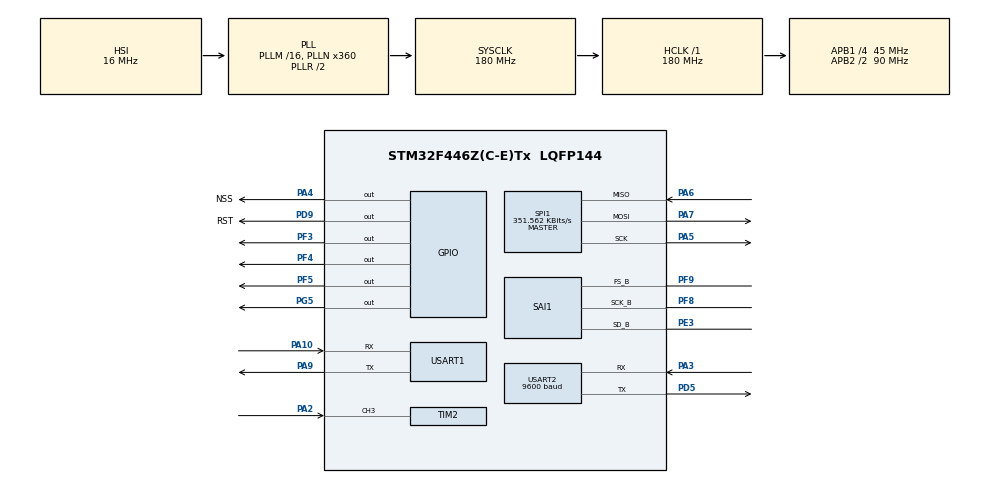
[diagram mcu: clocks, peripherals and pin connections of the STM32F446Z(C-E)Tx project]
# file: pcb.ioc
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Dma.Request0=SAI1_B
Dma.Request1=USART2_RX
Dma.Request2=USART1_TX
Dma.SAI1_B.0.Direction=DMA_PERIPH_TO_MEMORY
Dma.SAI1_B.0.FIFOMode=DMA_FIFOMODE_ENABLE
Dma.SAI1_B.0.FIFOThreshold=DMA_FIFO_THRESHOLD_FULL
Dma.SAI1_B.0.Instance=DMA2_Stream4
Dma.SAI1_B.0.MemBurst=DMA_MBURST_SINGLE
Dma.SAI1_B.0.MemDataAlignment=DMA_MDATAALIGN_WORD
Dma.SAI1_B.0.MemInc=DMA_MINC_ENABLE
Dma.SAI1_B.0.Mode=DMA_CIRCULAR
Dma.SAI1_B.0.PeriphBurst=DMA_PBURST_SINGLE
Dma.SAI1_B.0.PeriphDataAlignment=DMA_PDATAALIGN_WORD
Dma.SAI1_B.0.PeriphInc=DMA_PINC_DISABLE
Dma.SAI1_B.0.Priority=DMA_PRIORITY_LOW
Dma.USART1_TX.2.Direction=DMA_MEMORY_TO_PERIPH
Dma.USART1_TX.2.FIFOMode=DMA_FIFOMODE_DISABLE
Dma.USART1_TX.2.Instance=DMA2_Stream7
Dma.USART1_TX.2.MemDataAlignment=DMA_MDATAALIGN_BYTE
Dma.USART1_TX.2.MemInc=DMA_MINC_ENABLE
Dma.USART1_TX.2.Mode=DMA_NORMAL
Dma.USART1_TX.2.PeriphDataAlignment=DMA_PDATAALIGN_BYTE
Dma.USART1_TX.2.PeriphInc=DMA_PINC_DISABLE
Dma.USART1_TX.2.Priority=DMA_PRIORITY_LOW
Dma.USART2_RX.1.Direction=DMA_PERIPH_TO_MEMORY
Dma.USART2_RX.1.FIFOMode=DMA_FIFOMODE_DISABLE
Dma.USART2_RX.1.Instance=DMA1_Stream5
Dma.USART2_RX.1.MemDataAlignment=DMA_MDATAALIGN_BYTE
Dma.USART2_RX.1.MemInc=DMA_MINC_ENABLE
Dma.USART2_RX.1.Mode=DMA_NORMAL
Dma.USART2_RX.1.PeriphDataAlignment=DMA_PDATAALIGN_BYTE
Dma.USART2_RX.1.PeriphInc=DMA_PINC_DISABLE
Dma.USART2_RX.1.Priority=DMA_PRIORITY_HIGH
Mcu.Family=STM32F4
Mcu.Name=STM32F446Z(C-E)Tx
Mcu.Package=LQFP144
NVIC.DMA1_Stream5_IRQn=true\:0\:0\:false\:false\:true\:false\:true\:true
NVIC.DMA2_Stream4_IRQn=true\:0\:0\:false\:false\:true\:false\:true\:true
NVIC.DMA2_Stream7_IRQn=true\:0\:0\:false\:false\:true\:false\:true\:true
NVIC.PriorityGroup=NVIC_PRIORITYGROUP_4
NVIC.TIM2_IRQn=true\:0\:0\:false\:false\:true\:true\:true\:true
NVIC.USART2_IRQn=true\:0\:0\:false\:false\:true\:true\:true\:true
PA10.Mode=Asynchronous
PA10.Signal=USART1_RX
PA13.Mode=Serial_Wire
PA13.Signal=SYS_JTMS-SWDIO
PA14.Mode=Serial_Wire
PA14.Signal=SYS_JTCK-SWCLK
PA2.Signal=S_TIM2_CH3
PA3.Mode=Asynchronous
PA3.Signal=USART2_RX
PA4.GPIO_Label=NSS
PA4.Signal=GPIO_Output
PA5.Mode=Full_Duplex_Master
PA5.Signal=SPI1_SCK
PA6.Mode=Full_Duplex_Master
PA6.Signal=SPI1_MISO
PA7.Mode=Full_Duplex_Master
PA7.Signal=SPI1_MOSI
PA9.Mode=Asynchronous
PA9.Signal=USART1_TX
PC14-OSC32_IN.Mode=LSE-External-Oscillator
PC14-OSC32_IN.Signal=RCC_OSC32_IN
PC15-OSC32_OUT.Mode=LSE-External-Oscillator
PC15-OSC32_OUT.Signal=RCC_OSC32_OUT
PD5.Mode=Asynchronous
PD5.Signal=USART2_TX
PD9.GPIO_Label=RST
PD9.Signal=GPIO_Output
PE3.Mode=SAI_B_Master
PE3.Signal=SAI1_SD_B
PF3.Signal=GPIO_Output
PF4.Signal=GPIO_Output
PF5.Signal=GPIO_Output
PF8.Mode=SAI_B_Master
PF8.Signal=SAI1_SCK_B
PF9.Mode=SAI_B_Master
PF9.Signal=SAI1_FS_B
PG5.Signal=GPIO_Output
PH0-OSC_IN.Mode=HSE-External-Oscillator
PH0-OSC_IN.Signal=RCC_OSC_IN
PH1-OSC_OUT.Mode=HSE-External-Oscillator
PH1-OSC_OUT.Signal=RCC_OSC_OUT
ProjectManager.HeapSize=0x200
ProjectManager.StackSize=0x400
ProjectManager.TargetToolchain=STM32CubeIDE
RCC.AHBFreq_Value=180000000
RCC.APB1CLKDivider=RCC_HCLK_DIV4
RCC.APB1Freq_Value=45000000
RCC.APB1TimFreq_Value=90000000
RCC.APB2CLKDivider=RCC_HCLK_DIV2
RCC.APB2Freq_Value=90000000
RCC.APB2TimFreq_Value=180000000
RCC.CortexFreq_Value=180000000
RCC.HCLKFreq_Value=180000000
RCC.HSE_VALUE=25000000
RCC.PLLN=360
RCC.PLLP=RCC_PLLP_DIV4
RCC.SYSCLKFreq_VALUE=180000000
RCC.SYSCLKSource=RCC_SYSCLKSOURCE_PLLRCLK
RCC.USBFreq_Value=180000000
RCC.VCOOutputFreq_Value=360000000
SAI1.AudioFrequency-SAI_B_Master=SAI_AUDIO_FREQUENCY_44K
SAI1.AudioMode-SAI_B_Master=SAI_MODEMASTER_RX
SAI1.BasicDataSize-SAI_B_Master=SAI_PROTOCOL_DATASIZE_24BIT
SAI1.ErrorAudioFreq-SAI_B_Master=6.53 %
SAI1.InitProtocol-SAI_B_Master=Enable
SAI1.Instance-SAI_B_Master=SAI$Index_Block_B
SAI1.MClockEnable-SAI_B_Master=SAI_MASTERCLOCK_DISABLE
SAI1.RealAudioFreq-SAI_B_Master=46.875 KHz
SAI1.VirtualMode-SAI_B_Master=VM_MASTER
SAI1.VirtualProtocol-SAI_B_BASIC=VM_BASIC_PROTOCOL
SH.S_TIM2_CH3.0=TIM2_CH3,Input_Capture3_from_TI3
SPI1.BaudRatePrescaler=SPI_BAUDRATEPRESCALER_256
SPI1.CalculateBaudRate=351.562 KBits/s
SPI1.Direction=SPI_DIRECTION_2LINES
SPI1.Mode=SPI_MODE_MASTER
SPI1.VirtualType=VM_MASTER
TIM2.Channel-Input_Capture3_from_TI3=TIM_CHANNEL_3
USART1.VirtualMode=VM_ASYNC
USART2.BaudRate=9600
USART2.VirtualMode=VM_ASYNC
VP_SAI1_VP_$IpInstance_SAIB_SAI_BASIC.Mode=SAI_B_BASIC
board=custom

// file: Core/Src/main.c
/* USER CODE BEGIN Header */
/**
  ******************************************************************************
  * @file           : main.c
  * @brief          : Main program body
  ******************************************************************************
  * @attention
  *
  * Copyright (c) 2022 STMicroelectronics.
  * All rights reserved.
  *
  * This software is licensed under terms that can be found in the LICENSE file
  * in the root directory of this software component.
  * If no LICENSE file comes with this software, it is provided AS-IS.
  *
  ******************************************************************************
  */
/* USER CODE END Header */
#include "main.h"

/* USER CODE BEGIN Includes */
#include <stdio.h>
#include <stdlib.h>
#include <stdbool.h>
#include "string.h"
#include "lora_sx1276.h"
#include "string.h"
#include "arm_math.h"
#include "fir_coeffs1400-2600hz.h"
/* USER CODE END Includes */

/* USER CODE BEGIN PTD */
#define LORA_TRANSMIT 1
#define CLAP_THRESHOLD 100.0f
#define CLAP_DURATION 5
#define MIC_SAMPLE_FREQUENCY 44000
#define MIC_SAMPLES_PER_MS (MIC_SAMPLE_FREQUENCY/1000)  // == 48
#define MIC_NUM_CHANNELS 1
#define MIC_MS_PER_PACKET 20
#define MIC_SAMPLES_PER_PACKET (MIC_SAMPLES_PER_MS * MIC_MS_PER_PACKET) // == 960
#define MOVING_AVG_THRESHOLD CLAP_THRESHOLD
#define MOVING_AVG_LEN CLAP_DURATION
#define NUM_SEND_PACKETS 10
#define SEND_LEN (255 * NUM_SEND_PACKETS)
#define NODE 2

#if (NODE == 1)
#define NODE_DELAY 0
#elif (NODE == 2)
#define NODE_DELAY 100000000
#elif (NODE == 3)
#define NODE_DELAY 200000000
#elif (NODE == 4)
#define NODE_DELAY 300000000
#endif

#define TOTAL_DELAY 300000000

#define BLOCK_SIZE MIC_SAMPLES_PER_PACKET / 2
#define FILTER_LEN 101
/* USER CODE END PTD */

SAI_HandleTypeDef hsai_BlockB1;
DMA_HandleTypeDef hdma_sai1_b;

SPI_HandleTypeDef hspi1;

TIM_HandleTypeDef htim2;

UART_HandleTypeDef huart1;
UART_HandleTypeDef huart2;
DMA_HandleTypeDef hdma_usart1_tx;
DMA_HandleTypeDef hdma_usart2_rx;

/* USER CODE BEGIN PV */
volatile int32_t *_sampleBuffer[MIC_SAMPLES_PER_PACKET * 2];
int16_t circular_buf_mov[MOVING_AVG_LEN];
int16_t circular_buf_mov_right[MOVING_AVG_LEN];
uint32_t tail_mov;

int16_t circular_buf_full[SEND_LEN];
uint32_t tail_full;
float moving_sum;
float moving_avg;
int64_t moving_sum_left;
float moving_avg_left;
int64_t moving_sum_right;
float moving_avg_right;
bool _running;
uint16_t counter;
int done;
uint32_t devID = NODE;
uint32_t startPadding = 0xABABABAB;
uint32_t endMetaPadding = 0xCDCDCDCD;
uint32_t endPadding = 0xEFEFEFEF;
lora_sx1276 lora;
uint8_t iterfacing_success[] = "Interfacing SUCCESS";
uint8_t iterfacing_failed[] = "Interfacing FAILED";
uint8_t transmission_success[] = "Transmission SUCCESS";
uint8_t transmission_failed[] = "Transmission FAILED";

uint8_t GPS_buffer[2048];
char buffStr[2048];
char nmeaSnt[80];
uint8_t GPS_latest_data[65];
int GPSidxint = 0;

arm_fir_instance_f32 S;
float buffer[FILTER_LEN + BLOCK_SIZE - 1];
uint32_t blockSize = BLOCK_SIZE;
/* USER CODE END PV */

void SystemClock_Config(void);
static void MX_GPIO_Init(void);
static void MX_SPI1_Init(void);
static void MX_TIM2_Init(void);
static void MX_DMA_Init(void);
static void MX_SAI1_Init(void);
static void MX_USART2_UART_Init(void);
static void MX_USART1_UART_Init(void);
/* USER CODE BEGIN PFP */
void sendData(volatile int32_t *data_in);
/* USER CODE END PFP */

/* USER CODE BEGIN 0 */
uint32_t timerVal;

void HAL_TIM_IC_CaptureCallback(TIM_HandleTypeDef *htim) {
	__HAL_TIM_SET_COUNTER(htim,0);
}

void HAL_UART_RxCpltCallback(UART_HandleTypeDef *huart)
{
	if (huart == &huart2){
		char *string;
		memset(buffStr, 0, 2048);
		sprintf(buffStr, "%s", GPS_buffer);
		string = strdup(buffStr);

		char* token;
		while ((token = strsep(&string, "\n")) != NULL) {
			memset(nmeaSnt, 0, 80);
			sprintf(nmeaSnt, "%s\n\r", token);
			if ((strstr(nmeaSnt, "$GPGLL") != 0) && strlen(nmeaSnt) > 48 && strlen(nmeaSnt) < 65) {
				HAL_GPIO_WritePin(GPIOF, GPIO_PIN_4, GPIO_PIN_RESET);
				//Raw Data
				char* GPSidx = strchr(nmeaSnt, '\n');
				if (GPSidx){
					GPSidxint = GPSidx-nmeaSnt;
				}
				memset(GPS_latest_data, 0, 65);
				memcpy(GPS_latest_data, nmeaSnt, GPSidxint);
			}
		}
		HAL_UART_Receive_DMA(&huart2, GPS_buffer, 2048);
	}
}
/* USER CODE END 0 */

int main(void)
{
  /* USER CODE BEGIN 1 */
  _running = false;
  tail_mov = 1;
  tail_full = 1;
  moving_sum = 0;
  moving_avg = 0;
  moving_sum_left = 0;
  moving_avg_left = 0;
  moving_sum_right = 0;
  moving_avg_right = 0;
  counter = 0;
  done = 0;
  memset(circular_buf_mov, 0, MOVING_AVG_LEN*sizeof(int16_t));
  memset(circular_buf_mov_right, 0, MOVING_AVG_LEN*sizeof(int16_t));
  memset(circular_buf_full, 0, SEND_LEN*sizeof(int16_t));
  memset(_sampleBuffer, 0, MIC_SAMPLES_PER_PACKET*2*sizeof(int32_t));
  arm_fir_init_f32(&S, FILTER_LEN, (float *) coeffs, buffer, blockSize);

  /* USER CODE END 1 */

  /* MCU Configuration--------------------------------------------------------*/

  /* Reset of all peripherals, Initializes the Flash interface and the Systick. */
  HAL_Init();

  /* Configure the system clock */
  SystemClock_Config();

  /* Initialize all configured peripherals */
  MX_GPIO_Init();
  MX_SPI1_Init();
  MX_TIM2_Init();
  MX_DMA_Init();
  MX_SAI1_Init();
  MX_USART2_UART_Init();
  MX_USART1_UART_Init();
  /* USER CODE BEGIN 2 */
  HAL_TIM_IC_Start_IT(&htim2, TIM_CHANNEL_3);
  HAL_GPIO_WritePin(GPIOF, GPIO_PIN_4, GPIO_PIN_SET);
  HAL_GPIO_WritePin(GPIOF, GPIO_PIN_3, GPIO_PIN_SET);

  HAL_GPIO_WritePin(GPIOF, GPIO_PIN_5, GPIO_PIN_SET);
  HAL_GPIO_WritePin(GPIOG, GPIO_PIN_5, GPIO_PIN_RESET);
  HAL_GPIO_WritePin(RST_GPIO_Port, RST_Pin, GPIO_PIN_RESET);
  HAL_Delay(100);
  HAL_GPIO_WritePin(RST_GPIO_Port, RST_Pin, GPIO_PIN_SET);
  HAL_UART_Receive_DMA(&huart2, GPS_buffer, 2048);

#if LORA_TRANSMIT
  uint8_t res = lora_init(&lora, &hspi1, NSS_GPIO_Port, NSS_Pin, LORA_BASE_FREQUENCY_US);
  if (res != LORA_OK) {
	  HAL_UART_Transmit(&huart1, iterfacing_failed, sizeof(iterfacing_failed), 1000);
  }
#endif

  /* USER CODE END 2 */

  /* Infinite loop */
  while (1)
  {

  }
}

void SystemClock_Config(void)
{
  RCC_OscInitTypeDef RCC_OscInitStruct = {0};
  RCC_ClkInitTypeDef RCC_ClkInitStruct = {0};

  /** Configure the main internal regulator output voltage
  */
  __HAL_RCC_PWR_CLK_ENABLE();
  __HAL_PWR_VOLTAGESCALING_CONFIG(PWR_REGULATOR_VOLTAGE_SCALE1);
  /** Initializes the RCC Oscillators according to the specified parameters
  * in the RCC_OscInitTypeDef structure.
  */
  RCC_OscInitStruct.OscillatorType = RCC_OSCILLATORTYPE_HSI;
  RCC_OscInitStruct.HSIState = RCC_HSI_ON;
  RCC_OscInitStruct.HSICalibrationValue = RCC_HSICALIBRATION_DEFAULT;
  RCC_OscInitStruct.PLL.PLLState = RCC_PLL_ON;
  RCC_OscInitStruct.PLL.PLLSource = RCC_PLLSOURCE_HSI;
  RCC_OscInitStruct.PLL.PLLM = 16;
  RCC_OscInitStruct.PLL.PLLN = 360;
  RCC_OscInitStruct.PLL.PLLP = RCC_PLLP_DIV4;
  RCC_OscInitStruct.PLL.PLLQ = 2;
  RCC_OscInitStruct.PLL.PLLR = 2;
  if (HAL_RCC_OscConfig(&RCC_OscInitStruct) != HAL_OK)
  {
    Error_Handler();
  }
  /** Activate the Over-Drive mode
  */
  if (HAL_PWREx_EnableOverDrive() != HAL_OK)
  {
    Error_Handler();
  }
  /** Initializes the CPU, AHB and APB buses clocks
  */
  RCC_ClkInitStruct.ClockType = RCC_CLOCKTYPE_HCLK|RCC_CLOCKTYPE_SYSCLK
                              |RCC_CLOCKTYPE_PCLK1|RCC_CLOCKTYPE_PCLK2;
  RCC_ClkInitStruct.SYSCLKSource = RCC_SYSCLKSOURCE_PLLRCLK;
  RCC_ClkInitStruct.AHBCLKDivider = RCC_SYSCLK_DIV1;
  RCC_ClkInitStruct.APB1CLKDivider = RCC_HCLK_DIV4;
  RCC_ClkInitStruct.APB2CLKDivider = RCC_HCLK_DIV2;

  if (HAL_RCC_ClockConfig(&RCC_ClkInitStruct, FLASH_LATENCY_5) != HAL_OK)
  {
    Error_Handler();
  }
}

static void MX_SAI1_Init(void)
{

  hsai_BlockB1.Instance = SAI1_Block_B;
  hsai_BlockB1.Init.AudioMode = SAI_MODEMASTER_RX;
  hsai_BlockB1.Init.Synchro = SAI_ASYNCHRONOUS;
  hsai_BlockB1.Init.OutputDrive = SAI_OUTPUTDRIVE_DISABLE;
  hsai_BlockB1.Init.NoDivider = SAI_MASTERDIVIDER_ENABLE;
  hsai_BlockB1.Init.FIFOThreshold = SAI_FIFOTHRESHOLD_EMPTY;
  hsai_BlockB1.Init.ClockSource = SAI_CLKSOURCE_NA;
  hsai_BlockB1.Init.AudioFrequency = SAI_AUDIO_FREQUENCY_44K;
  hsai_BlockB1.Init.SynchroExt = SAI_SYNCEXT_DISABLE;
  hsai_BlockB1.Init.MonoStereoMode = SAI_STEREOMODE;
  hsai_BlockB1.Init.CompandingMode = SAI_NOCOMPANDING;
  if (HAL_SAI_InitProtocol(&hsai_BlockB1, SAI_I2S_STANDARD, SAI_PROTOCOL_DATASIZE_24BIT, 2) != HAL_OK)
  {
    Error_Handler();
  }
  /* USER CODE BEGIN SAI1_Init 2 */
  if ((HAL_SAI_Receive_DMA(&hsai_BlockB1, (uint8_t*) _sampleBuffer, MIC_SAMPLES_PER_PACKET * 2)) == HAL_OK) {
	  HAL_Delay(1000);
	  _running = true;
  }
  /* USER CODE END SAI1_Init 2 */

}

static void MX_SPI1_Init(void)
{

  /* SPI1 parameter configuration*/
  hspi1.Instance = SPI1;
  hspi1.Init.Mode = SPI_MODE_MASTER;
  hspi1.Init.Direction = SPI_DIRECTION_2LINES;
  hspi1.Init.DataSize = SPI_DATASIZE_8BIT;
  hspi1.Init.CLKPolarity = SPI_POLARITY_LOW;
  hspi1.Init.CLKPhase = SPI_PHASE_1EDGE;
  hspi1.Init.NSS = SPI_NSS_SOFT;
  hspi1.Init.BaudRatePrescaler = SPI_BAUDRATEPRESCALER_256;
  hspi1.Init.FirstBit = SPI_FIRSTBIT_MSB;
  hspi1.Init.TIMode = SPI_TIMODE_DISABLE;
  hspi1.Init.CRCCalculation = SPI_CRCCALCULATION_DISABLE;
  hspi1.Init.CRCPolynomial = 10;
  if (HAL_SPI_Init(&hspi1) != HAL_OK)
  {
    Error_Handler();
  }

}

static void MX_TIM2_Init(void)
{

  TIM_MasterConfigTypeDef sMasterConfig = {0};
  TIM_IC_InitTypeDef sConfigIC = {0};

  htim2.Instance = TIM2;
  htim2.Init.Prescaler = 0;
  htim2.Init.CounterMode = TIM_COUNTERMODE_UP;
  htim2.Init.Period = 4294967295;
  htim2.Init.ClockDivision = TIM_CLOCKDIVISION_DIV1;
  htim2.Init.AutoReloadPreload = TIM_AUTORELOAD_PRELOAD_DISABLE;
  if (HAL_TIM_IC_Init(&htim2) != HAL_OK)
  {
    Error_Handler();
  }
  sMasterConfig.MasterOutputTrigger = TIM_TRGO_RESET;
  sMasterConfig.MasterSlaveMode = TIM_MASTERSLAVEMODE_DISABLE;
  if (HAL_TIMEx_MasterConfigSynchronization(&htim2, &sMasterConfig) != HAL_OK)
  {
    Error_Handler();
  }
  sConfigIC.ICPolarity = TIM_INPUTCHANNELPOLARITY_RISING;
  sConfigIC.ICSelection = TIM_ICSELECTION_DIRECTTI;
  sConfigIC.ICPrescaler = TIM_ICPSC_DIV1;
  sConfigIC.ICFilter = 0;
  if (HAL_TIM_IC_ConfigChannel(&htim2, &sConfigIC, TIM_CHANNEL_3) != HAL_OK)
  {
    Error_Handler();
  }

}

static void MX_USART1_UART_Init(void)
{

  huart1.Instance = USART1;
  huart1.Init.BaudRate = 115200;
  huart1.Init.WordLength = UART_WORDLENGTH_8B;
  huart1.Init.StopBits = UART_STOPBITS_1;
  huart1.Init.Parity = UART_PARITY_NONE;
  huart1.Init.Mode = UART_MODE_TX_RX;
  huart1.Init.HwFlowCtl = UART_HWCONTROL_NONE;
  huart1.Init.OverSampling = UART_OVERSAMPLING_16;
  if (HAL_UART_Init(&huart1) != HAL_OK)
  {
    Error_Handler();
  }

}

static void MX_USART2_UART_Init(void)
{

  huart2.Instance = USART2;
  huart2.Init.BaudRate = 9600;
  huart2.Init.WordLength = UART_WORDLENGTH_8B;
  huart2.Init.StopBits = UART_STOPBITS_1;
  huart2.Init.Parity = UART_PARITY_NONE;
  huart2.Init.Mode = UART_MODE_TX_RX;
  huart2.Init.HwFlowCtl = UART_HWCONTROL_NONE;
  huart2.Init.OverSampling = UART_OVERSAMPLING_16;
  if (HAL_UART_Init(&huart2) != HAL_OK)
  {
    Error_Handler();
  }

}

static void MX_DMA_Init(void)
{

  /* DMA controller clock enable */
  __HAL_RCC_DMA2_CLK_ENABLE();
  __HAL_RCC_DMA1_CLK_ENABLE();

  /* DMA interrupt init */
  /* DMA1_Stream5_IRQn interrupt configuration */
  HAL_NVIC_SetPriority(DMA1_Stream5_IRQn, 0, 0);
  HAL_NVIC_EnableIRQ(DMA1_Stream5_IRQn);
  /* DMA2_Stream4_IRQn interrupt configuration */
  HAL_NVIC_SetPriority(DMA2_Stream4_IRQn, 0, 0);
  HAL_NVIC_EnableIRQ(DMA2_Stream4_IRQn);
  /* DMA2_Stream7_IRQn interrupt configuration */
  HAL_NVIC_SetPriority(DMA2_Stream7_IRQn, 0, 0);
  HAL_NVIC_EnableIRQ(DMA2_Stream7_IRQn);

}

static void MX_GPIO_Init(void)
{
  GPIO_InitTypeDef GPIO_InitStruct = {0};

  /* GPIO Ports Clock Enable */
  __HAL_RCC_GPIOE_CLK_ENABLE();
  __HAL_RCC_GPIOC_CLK_ENABLE();
  __HAL_RCC_GPIOF_CLK_ENABLE();
  __HAL_RCC_GPIOH_CLK_ENABLE();
  __HAL_RCC_GPIOA_CLK_ENABLE();
  __HAL_RCC_GPIOD_CLK_ENABLE();
  __HAL_RCC_GPIOG_CLK_ENABLE();

  /*Configure GPIO pin Output Level */
  HAL_GPIO_WritePin(GPIOF, GPIO_PIN_3|GPIO_PIN_4|GPIO_PIN_5, GPIO_PIN_RESET);

  /*Configure GPIO pin Output Level */
  HAL_GPIO_WritePin(NSS_GPIO_Port, NSS_Pin, GPIO_PIN_RESET);

  /*Configure GPIO pin Output Level */
  HAL_GPIO_WritePin(RST_GPIO_Port, RST_Pin, GPIO_PIN_RESET);

  /*Configure GPIO pin Output Level */
  HAL_GPIO_WritePin(GPIOG, GPIO_PIN_5, GPIO_PIN_RESET);

  /*Configure GPIO pins : PF3 PF4 PF5 */
  GPIO_InitStruct.Pin = GPIO_PIN_3|GPIO_PIN_4|GPIO_PIN_5;
  GPIO_InitStruct.Mode = GPIO_MODE_OUTPUT_PP;
  GPIO_InitStruct.Pull = GPIO_NOPULL;
  GPIO_InitStruct.Speed = GPIO_SPEED_FREQ_LOW;
  HAL_GPIO_Init(GPIOF, &GPIO_InitStruct);

  /*Configure GPIO pin : NSS_Pin */
  GPIO_InitStruct.Pin = NSS_Pin;
  GPIO_InitStruct.Mode = GPIO_MODE_OUTPUT_PP;
  GPIO_InitStruct.Pull = GPIO_NOPULL;
  GPIO_InitStruct.Speed = GPIO_SPEED_FREQ_LOW;
  HAL_GPIO_Init(NSS_GPIO_Port, &GPIO_InitStruct);

  /*Configure GPIO pin : RST_Pin */
  GPIO_InitStruct.Pin = RST_Pin;
  GPIO_InitStruct.Mode = GPIO_MODE_OUTPUT_PP;
  GPIO_InitStruct.Pull = GPIO_NOPULL;
  GPIO_InitStruct.Speed = GPIO_SPEED_FREQ_LOW;
  HAL_GPIO_Init(RST_GPIO_Port, &GPIO_InitStruct);

  /*Configure GPIO pin : PG5 */
  GPIO_InitStruct.Pin = GPIO_PIN_5;
  GPIO_InitStruct.Mode = GPIO_MODE_OUTPUT_PP;
  GPIO_InitStruct.Pull = GPIO_NOPULL;
  GPIO_InitStruct.Speed = GPIO_SPEED_FREQ_LOW;
  HAL_GPIO_Init(GPIOG, &GPIO_InitStruct);

}

/* USER CODE BEGIN 4 */
void HAL_SAI_RxHalfCpltCallback(SAI_HandleTypeDef *hsai) {
	sendData(_sampleBuffer);
}

void HAL_SAI_RxCpltCallback(SAI_HandleTypeDef *hsai) {
	sendData(&_sampleBuffer[MIC_SAMPLES_PER_PACKET]);
}

void sendData(volatile int32_t *data_in) {

	float data_in_float[MIC_SAMPLES_PER_PACKET / 2];
	float filt[MIC_SAMPLES_PER_PACKET / 2];
	volatile int32_t *data_in_tmp = data_in;
	for (uint16_t i = 0; i < MIC_SAMPLES_PER_PACKET / 2; i++) {
		int16_t tmp = (int16_t) ((data_in_tmp[0]>>8) & 0xffff);
		data_in_float[i] = (float) tmp;
		data_in_tmp += 2;
	}
	arm_fir_f32(&S, data_in_float, filt, blockSize);

	if (_running) {
		for (uint16_t i = 0; i < MIC_SAMPLES_PER_PACKET / 2; i++) {

			moving_sum += (int16_t) fabsf(filt[i]); // * abs(sample_right);
			moving_sum -= (int16_t) abs(circular_buf_mov[tail_mov]); // * abs(circular_buf_mov_right[tail_mov]);
			circular_buf_mov[tail_mov] = (int16_t) filt[i];
			circular_buf_full[tail_full] = (int16_t) filt[i];
			moving_avg = moving_sum / MOVING_AVG_LEN;

			if ((counter > 0) && (!done)){
				counter++;
				if (counter == (SEND_LEN/2)){ // TODO: need to change this to SEND_LEN-100;

					for(int delay = 0; delay < NODE_DELAY; delay++); // non-blocking delay used to offset the transmissions of each node to prevent garbled transmissions

					uint8_t GPS_data_len = (uint8_t) GPSidxint; //strlen((char *) GPS_latest_data);
					uint8_t metaData[16+GPS_data_len];
					memcpy(metaData, &startPadding, 4);
					memcpy(metaData+4, &timerVal, 4);
					memcpy(metaData+8, &devID, 4);
					memcpy(metaData+12, GPS_latest_data, GPS_data_len);
					memcpy(metaData+12+GPS_data_len, &endMetaPadding, 4);

					uint8_t sendBuf[SEND_LEN*2];
					memcpy(sendBuf, &circular_buf_full[tail_full], ((SEND_LEN)-tail_full)*2);
					memcpy(&sendBuf[(SEND_LEN-tail_full)*2], circular_buf_full, tail_full*2);

#if LORA_TRANSMIT
					uint8_t packet_res = lora_send_packet(&lora, metaData, 16+GPS_data_len);

					if (packet_res != LORA_OK) {
						HAL_UART_Transmit(&huart1, &packet_res, sizeof(packet_res), 1000);
					}
					else {
						HAL_UART_Transmit(&huart1, transmission_success, sizeof(transmission_success), 1000);
					}

					while(lora_is_transmitting(&lora)); // non-blocking delay

#else
					HAL_UART_Transmit(&huart1, (uint8_t*) sendBuf, SEND_LEN*2, 1000);
#endif

#if LORA_TRANSMIT

					for(int send_loop_cnt = 0; send_loop_cnt < ((SEND_LEN*2)/255 + ((SEND_LEN*2) % 255 != 0)); send_loop_cnt++){
						packet_res = lora_send_packet(&lora, sendBuf+(255*send_loop_cnt), 255);
						if (packet_res != LORA_OK) {
							HAL_UART_Transmit(&huart1, &packet_res, sizeof(packet_res), 1000);
						}
						else {
							HAL_UART_Transmit(&huart1, transmission_success, sizeof(transmission_success), 1000);
						}
						HAL_GPIO_TogglePin(GPIOF, GPIO_PIN_3);
						while(lora_is_transmitting(&lora)); // non-blocking delay
					}

					packet_res = lora_send_packet(&lora, (uint8_t *) &endPadding, 4);
					if (packet_res != LORA_OK) {
						HAL_UART_Transmit(&huart1, &packet_res, sizeof(packet_res), 1000);
					}
					else {
						HAL_UART_Transmit(&huart1, transmission_success, sizeof(transmission_success), 1000);
					}
#endif

					HAL_GPIO_WritePin(GPIOF, GPIO_PIN_3, GPIO_PIN_RESET);
					for(int delay = 0; delay < (TOTAL_DELAY - NODE_DELAY); delay++);
					HAL_GPIO_WritePin(GPIOF, GPIO_PIN_3, GPIO_PIN_SET);
					tail_mov = 1;
					tail_full = 1;
					moving_sum = 0;
					moving_avg = 0;
					moving_sum_left = 0;
					moving_avg_left = 0;
					moving_sum_right = 0;
					moving_avg_right = 0;
					counter = 0;
					done = 0;
					memset(circular_buf_mov, 0, MOVING_AVG_LEN*sizeof(int16_t));
					memset(circular_buf_mov_right, 0, MOVING_AVG_LEN*sizeof(int16_t));
					memset(circular_buf_full, 0, SEND_LEN*sizeof(int16_t));
					memset(_sampleBuffer, 0, MIC_SAMPLES_PER_PACKET*2*sizeof(int32_t));
				}
			}

			if ((moving_avg >= MOVING_AVG_THRESHOLD) && (counter == 0)){
				timerVal = TIM2->CNT;
				HAL_GPIO_WritePin(GPIOF, GPIO_PIN_3, GPIO_PIN_RESET);
				counter += 1;
				done = 0;
			}

			tail_mov = (tail_mov + 1) % (MOVING_AVG_LEN);
			tail_full = (tail_full + 1) % (SEND_LEN);

			data_in += 2;
		}

	}
}

/* USER CODE END 4 */

void Error_Handler(void)
{
  __disable_irq();
  while (1)
  {
  }
}
